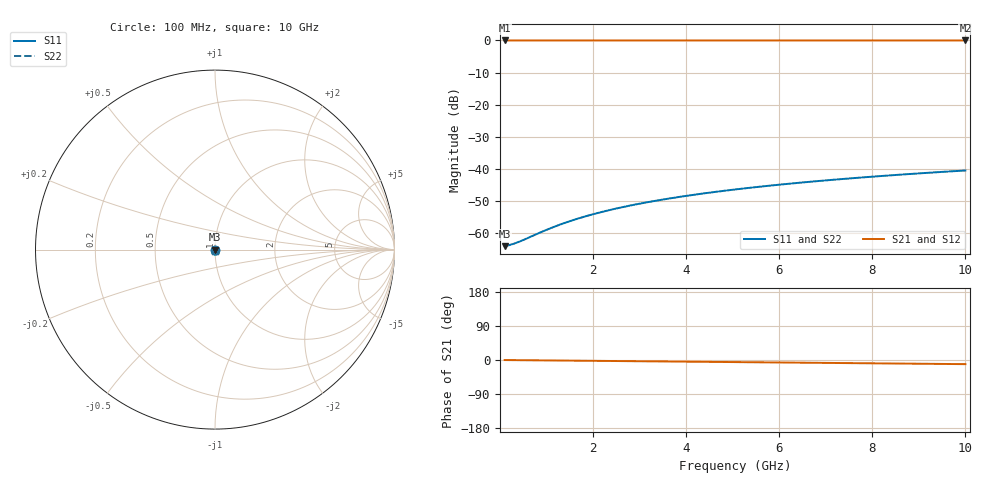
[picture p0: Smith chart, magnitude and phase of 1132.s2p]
# Hz S RI R 50.00
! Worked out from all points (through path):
!   100 points, 100 MHz to 10 GHz, reference 50 ohm
!   highest |S21| = -0.01 dB at 100 MHz (marker M1); lowest = 0.0 dB at 10 GHz (marker M2)
!   group delay of S21, straight-line fit = 3.04 ps
!   lowest |S11| = -64.1 dB at 100 MHz (marker M3), VSWR 1.00, Z = 50.1 - j0.00936 ohm
!   |S11| at or under -10 dB: start of sweep to end of sweep
!   |S22| runs from -64.1 to -40.5 dB; largest |S21 - S12| = 0
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1e8  0.000615 -9.35e-05  0.9994 -0.0019  0.9994 -0.0019  0.000615 -9.35e-05
2e8  0.000618 -0.000187  0.9994 -0.0038  0.9994 -0.0038  0.000618 -0.000187
3e8  0.000619 -0.000281  0.9994 -0.00569  0.9994 -0.00569  0.000619 -0.000281
4e8  0.00062 -0.000374  0.9993 -0.00759  0.9993 -0.00759  0.00062 -0.000374
1e9  0.000609 -0.000936  0.9992 -0.019  0.9992 -0.019  0.000609 -0.000936
1.3e9  0.000598 -0.00122  0.999 -0.0247  0.999 -0.0247  0.000598 -0.00122
1.5e9  0.000589 -0.00141  0.9989 -0.0285  0.9989 -0.0285  0.000589 -0.00141
1.8e9  0.000571 -0.00169  0.9988 -0.0342  0.9988 -0.0342  0.000571 -0.00169
2.1e9  0.000551 -0.00197  0.9985 -0.0399  0.9985 -0.0399  0.000551 -0.00197
2.5e9  0.000518 -0.00235  0.9982 -0.0475  0.9982 -0.0475  0.000518 -0.00235
2.9e9  0.000479 -0.00272  0.9978 -0.0551  0.9978 -0.0551  0.000479 -0.00272
3.4e9  0.000422 -0.0032  0.9972 -0.0646  0.9972 -0.0646  0.000422 -0.0032
3.8e9  0.00037 -0.00357  0.9967 -0.0722  0.9967 -0.0722  0.00037 -0.00357
4.2e9  0.000312 -0.00395  0.9961 -0.0798  0.9961 -0.0798  0.000312 -0.00395
4.6e9  0.000248 -0.00433  0.9955 -0.0873  0.9955 -0.0873  0.000248 -0.00433
5.1e9  0.00016 -0.0048  0.9946 -0.0968  0.9946 -0.0968  0.00016 -0.0048
5.9e9  5.84e-07 -0.00555  0.9929 -0.112  0.9929 -0.112  5.84e-07 -0.00555
6.7e9  -0.000182 -0.00631  0.9911 -0.1272  0.9911 -0.1272  -0.000182 -0.00631
7.5e9  -0.000389 -0.00705  0.989 -0.1424  0.989 -0.1424  -0.000389 -0.00705
8.4e9  -0.000648 -0.00788  0.9864 -0.1594  0.9864 -0.1594  -0.000648 -0.00788
9.2e9  -0.000902 -0.00861  0.9838 -0.1745  0.9838 -0.1745  -0.000902 -0.00861
1e10  -0.00118 -0.00933  0.981 -0.1897  0.981 -0.1897  -0.00118 -0.00933
